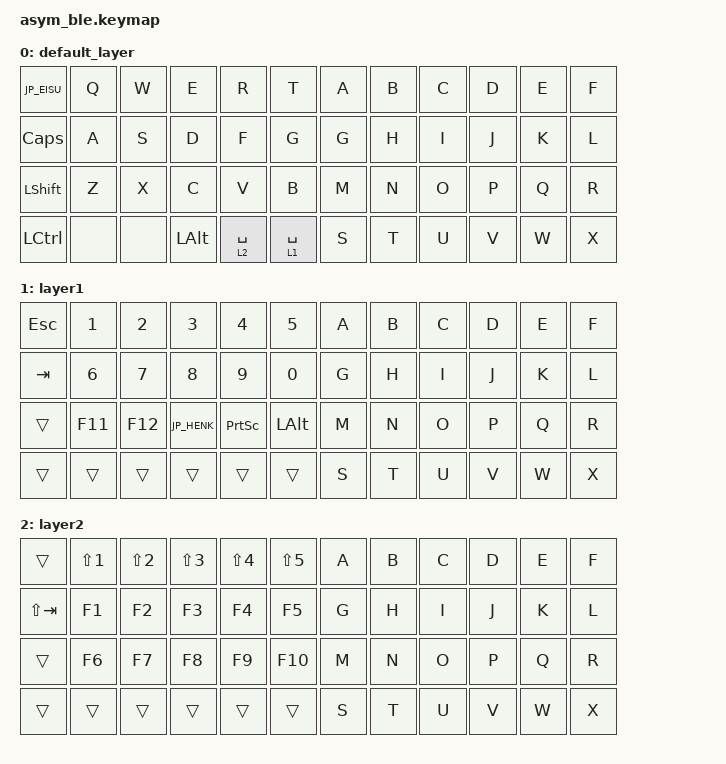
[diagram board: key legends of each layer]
/*
 * Copyright (c) 2022 The ZMK Contributors
 *
 * SPDX-License-Identifier: MIT
 */

#include <behaviors.dtsi>
#include <dt-bindings/zmk/keys.h>
#include <dt-bindings/zmk/bt.h>
#include <dt-bindings/zmk/outputs.h>
#include "keycode_japanese.h"

#define DEFAULT 0
#define NUMBERS 1
#define NAV 2
#define SYMBOLS 3
#define MOUSE 4

/ {
	keymap {
		compatible = "zmk,keymap";
		default_layer {
			bindings = <
				&kp JP_EISU	&kp Q		&kp W		&kp E		&kp R		&kp T				&kp A &kp B &kp C &kp D &kp E &kp F
				&kp CAPS	&kp A		&kp S		&kp D		&kp F		&kp G				&kp G &kp H &kp I &kp J &kp K &kp L
				&kp LSHFT	&kp Z		&kp X		&kp C		&kp V		&kp B				&kp M &kp N &kp O &kp P &kp Q &kp R
				&kp LCTRL	&none		&none		&kp LALT	&lt 2 SPACE	&lt 1 SPACE			&kp S &kp T &kp U &kp V &kp W &kp X
			>;
		};
		layer1 {
			bindings = <
				&kp ESC		&kp N1		&kp N2		&kp N3		&kp N4		&kp N5				&kp A &kp B &kp C &kp D &kp E &kp F
				&kp TAB		&kp N6		&kp N7		&kp N8		&kp N9		&kp N0				&kp G &kp H &kp I &kp J &kp K &kp L
				&trans		&kp F11		&kp F12		&kp JP_HENK	&kp PSCRN	&kp LALT			&kp M &kp N &kp O &kp P &kp Q &kp R
				&trans		&trans		&trans		&trans		&trans		&trans				&kp S &kp T &kp U &kp V &kp W &kp X
			>;
		};
		layer2 {
			bindings = <
				&trans		&kp LS(N1)	&kp LS(N2)	&kp LS(N3)	&kp LS(N4)	&kp LS(N5)			&kp A &kp B &kp C &kp D &kp E &kp F
				&kp LS(TAB)	&kp F1		&kp F2		&kp F3		&kp F4		&kp F5				&kp G &kp H &kp I &kp J &kp K &kp L
				&trans		&kp F6		&kp F7		&kp F8		&kp F9		&kp F10				&kp M &kp N &kp O &kp P &kp Q &kp R
				&trans		&trans		&trans		&trans		&trans		&trans				&kp S &kp T &kp U &kp V &kp W &kp X
			>;
		};
/*
		default_layer {
			bindings = <
				&kp JP_EISU	&kp Q		&kp W		&kp E		&kp R		&kp T				&kp A &kp B &kp C &kp D &kp E &kp F
				&kp CAPS	&kp A		&kp S		&kp D		&kp F		&kp G				&kp G &kp H &kp I &kp J &kp K &kp L
				&kp LSHFT	&kp Z		&kp X		&kp C		&kp V		&kp B				&kp M &kp N &kp O &kp P &kp Q &kp R
				&kp LCTRL	&none		&none		&kp LALT	&lt 2 SPACE	&lt 1 SPACE			&kp S &kp T &kp U &kp V &kp W &kp X
			>;
		};
		layer1 {
			bindings = <
				&kp ESC		&kp N1		&kp N2		&kp N3		&kp N4		&kp N5					&kp N6		&kp N7		&kp UP		&kp N8		&kp N9			&kp N0		&kp DEL 
				&kp TAB		&kp F1		&kp F2		&kp F3		&kp F4		&kp F5					&kp CAPS	&kp LEFT	&kp DOWN	&kp RIGHT	&kp JP_COLON		&kp RS(ENTER)
				&trans		&kp F6		&kp X   	&kp C		&kp PSCRN	&kp LALT		&kp F2		&kp CARET	&kp JP_AT	&kp LBKT	&kp RBKT	&kp JP_SLASH		&trans
				&trans						&trans		&trans		&trans			&trans		&trans		&trans
			>;
		};
		layer2 {
			bindings = <
				&trans		&kp LS(N1)	&kp LS(N2)	&kp LS(N3)	&kp LS(N4)	&kp LS(N5)				&kp LS(N6)	&kp LS(N7)	&kp UP		&kp LS(N8)	&kp LS(N9)		&kp LS(N0)	&kp DEL
				&trans		&kp F7		&kp F8		&kp F9		&kp F10		&kp F11					&trans		&kp LEFT	&kp DOWN	&kp RIGHT	&trans			&kp LA(ENTER)
				&trans		&kp F12		&trans		&trans		&trans		&trans			&kp F2		&kp LS(CARET)	&kp LS(JP_AT)	&kp LS(LBKT)	&kp LS(RBKT)	&kp LS(JP_SLASH)	&trans
				&trans						&trans		&trans		&trans			&trans		&trans		&trans
			>;
		};
*/
	};
};
